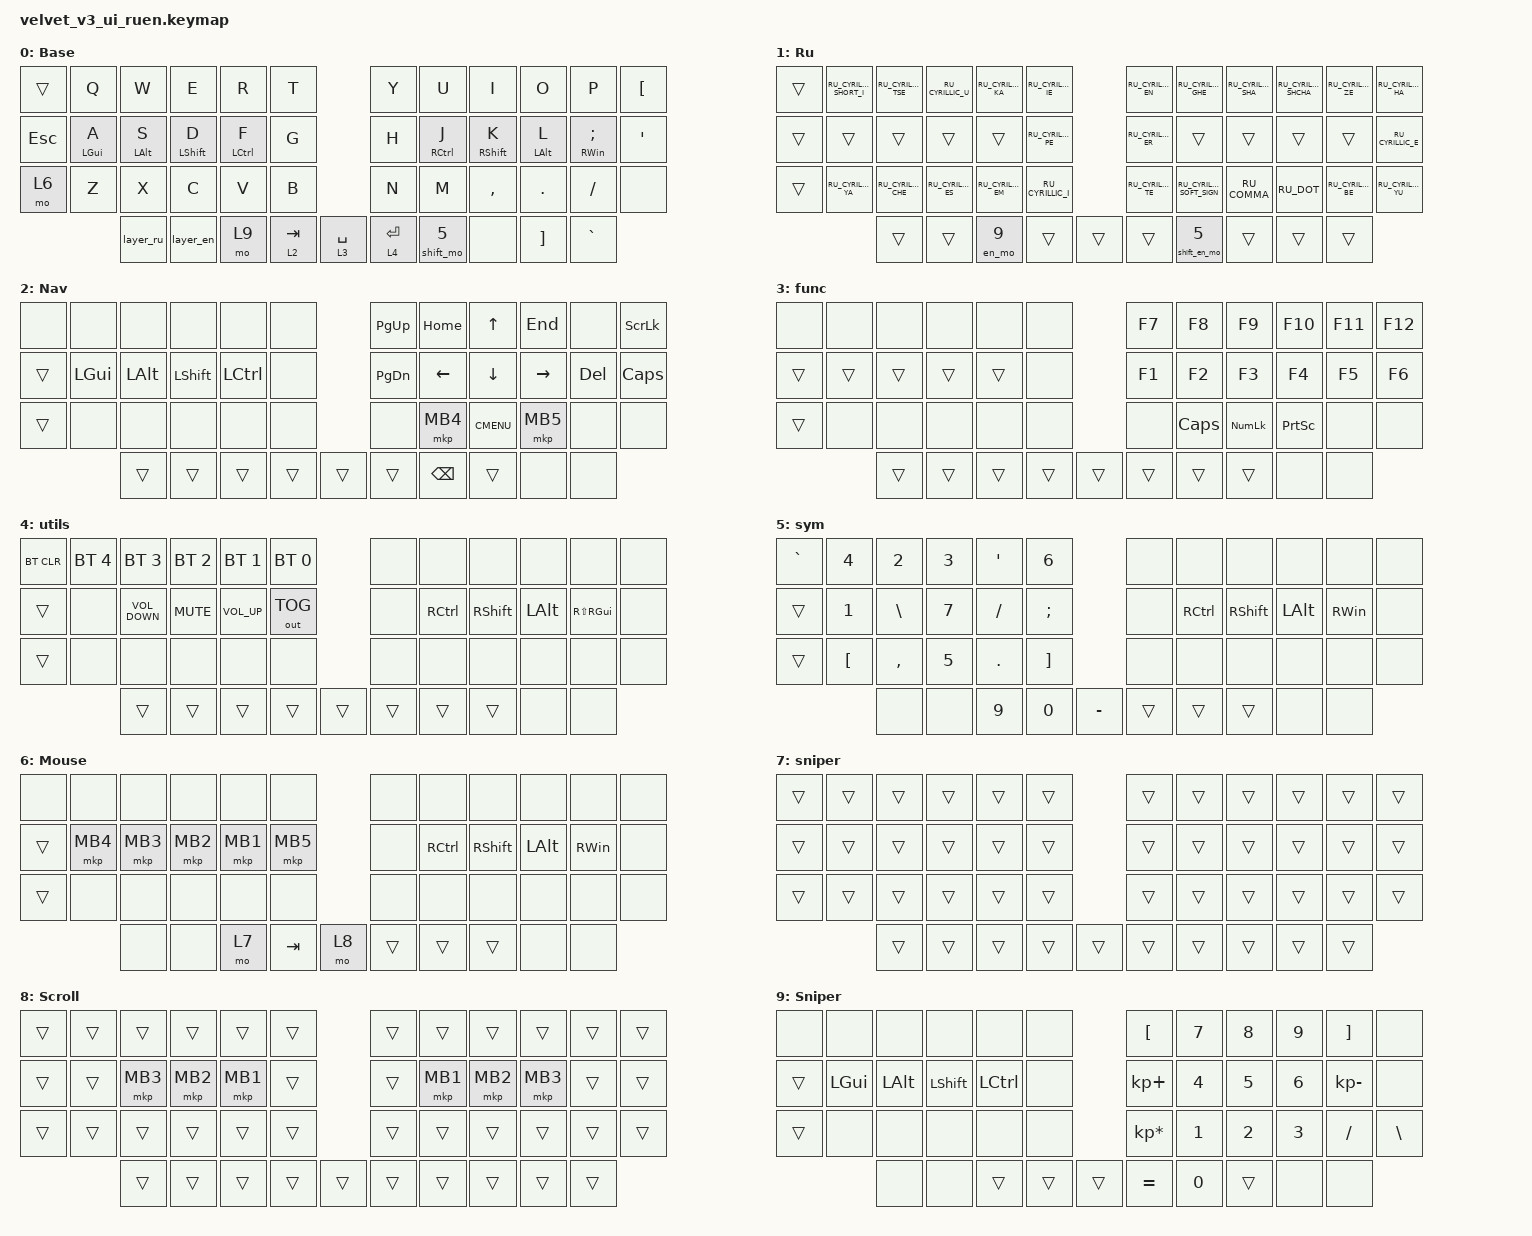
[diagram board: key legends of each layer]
#include "keys_ru.h"
#include <dt-bindings/zmk/input_transform.h>
#include <input/processors.dtsi>
#include <zephyr/dt-bindings/input/input-event-codes.h>
#include <behaviors.dtsi>
#include <dt-bindings/zmk/bt.h>
#include <dt-bindings/zmk/keys.h>
#include <dt-bindings/zmk/outputs.h>
#include <dt-bindings/zmk/pointing.h>

&lt { tapping-term-ms = <125>; };

&mt {
    tapping-term-ms = <125>;
    flavor = "tap-preferred";
};

/ {
    behaviors {
        cap_sen: cap_sen {
            compatible = "zmk,behavior-hold-tap";
            label = "CAP_SEN";
            bindings = <&mo>, <&mkp>;

            #binding-cells = <2>;
            tapping-term-ms = <150>;
            hold-while-undecided;
        };

        mouse_layer: mouse_layer {
            compatible = "zmk,behavior-sticky-key";
            label = "MOUSE_LAYER";
            bindings = <&mo>;
            #binding-cells = <1>;
            release-after-ms = <200>;
        };

        zip_auto_mouse: zip_auto_mouse {
            compatible = "zmk,input-processor-temp-layer";
            #input-processor-cells = <2>;
            require-prior-idle-ms = <800>;
            excluded-positions = <>;
        };
    };

    combos {
        compatible = "zmk,combos";

        cmben {
            bindings = <&layer_en>;
            key-positions = <3 4>;
            layers = <1>;
        };

        cmbru {
            bindings = <&layer_ru>;
            key-positions = <3 4>;
            layers = <0>;
        };
    };

    macros {
        layer_en: layer_en {
            compatible = "zmk,behavior-macro";
            #binding-cells = <0>;
            bindings = <&to 0 &ru_en_switch>;
            label = "LAYER_EN";
            wait-ms = <0>;
            tap-ms = <30>;
        };

        layer_ru: layer_ru {
            compatible = "zmk,behavior-macro";
            #binding-cells = <0>;
            bindings = <&to 1 &ru_en_switch>;
            label = "LAYER_RU";
            tap-ms = <30>;
            wait-ms = <0>;
        };

        en: en {
            compatible = "zmk,behavior-macro-one-param";
            #binding-cells = <1>;
            bindings =
                <&ru_en_switch &macro_param_1to1 &kp MACRO_PLACEHOLDER>,
                <&macro_wait_time 50>,
                <&ru_en_switch>,
                <&macro_wait_time 50>;

            label = "EN";
            wait-ms = <0>;
            tap-ms = <30>;
        };

        sen_mo: sen_mo {
            compatible = "zmk,behavior-macro-one-param";
            #binding-cells = <1>;
            bindings =
                <&macro_press>,
                <&macro_param_1to1 &mo MACRO_PLACEHOLDER>,
                <&macro_pause_for_release>,
                <&macro_wait_time 15>,
                <&macro_release>,
                <&macro_param_1to1 &mo MACRO_PLACEHOLDER>;

            label = "SEN_MO";
        };

        ru_en_switch: ru_en_switch {
            compatible = "zmk,behavior-macro";
            #binding-cells = <0>;
            bindings = <&kp LG(SPACE)>;
            label = "RU_EN_SWITCH";
        };

        shift_mo: shift_mo {
            compatible = "zmk,behavior-macro-one-param";
            #binding-cells = <1>;
            bindings =
                <&macro_press>,
                <&macro_param_1to1 &mo MACRO_PLACEHOLDER &kp LSHIFT>,
                <&macro_pause_for_release>,
                <&macro_release>,
                <&macro_param_1to1 &mo MACRO_PLACEHOLDER &kp LEFT_SHIFT>;

            label = "SHIFT_MO";
        };

        shift_en_mo: shift_en_mo {
            compatible = "zmk,behavior-macro-one-param";
            #binding-cells = <1>;
            bindings =
                <&macro_tap>,
                <&ru_en_switch>,
                <&macro_press>,
                <&macro_param_1to1 &mo MACRO_PLACEHOLDER &kp LEFT_SHIFT>,
                <&macro_pause_for_release>,
                <&macro_release>,
                <&macro_param_1to1 &mo MACRO_PLACEHOLDER &kp LEFT_SHIFT>,
                <&macro_tap>,
                <&ru_en_switch>;

            label = "SHIFT_EN_MO";
        };

        en_mo: en_mo {
            compatible = "zmk,behavior-macro-one-param";
            #binding-cells = <1>;
            bindings =
                <&macro_tap>,
                <&ru_en_switch>,
                <&macro_press>,
                <&macro_param_1to1 &mo MACRO_PLACEHOLDER>,
                <&macro_pause_for_release>,
                <&macro_release>,
                <&macro_param_1to1 &mo MACRO_PLACEHOLDER>,
                <&macro_tap>,
                <&ru_en_switch>;

            label = "EN_MO";
        };
    };

    keymap {
        compatible = "zmk,keymap";

        en {
            bindings = <
&trans   &kp Q           &kp W           &kp E             &kp R               &kp T                                  &kp Y        &kp U                &kp I              &kp O           &kp P               &kp LEFT_BRACKET
&kp ESC  &mt LEFT_GUI A  &mt LEFT_ALT S  &mt LEFT_SHIFT D  &mt LEFT_CONTROL F  &kp G                                  &kp H        &mt RIGHT_CONTROL J  &mt RIGHT_SHIFT K  &mt LEFT_ALT L  &mt RIGHT_WIN SEMI  &kp SQT
&mo 6    &kp Z           &kp X           &kp C             &kp V               &kp B                                  &kp N        &kp M                &kp COMMA          &kp DOT         &kp FSLH            &none
                         &layer_ru       &layer_en         &mo 9               &lt 2 TAB  &lt 3 SPACE    &lt 4 ENTER  &shift_mo 5  &none                &kp RIGHT_BRACKET  &kp GRAVE
            >;

            display-name = "Base";
        };

        ru {
            display-name = "Ru";
            bindings = <
&trans  &kp RU_CYRILLIC_SHORT_I  &kp RU_CYRILLIC_TSE  &kp RU_CYRILLIC_U   &kp RU_CYRILLIC_KA  &kp RU_CYRILLIC_IE                    &kp RU_CYRILLIC_EN  &kp RU_CYRILLIC_GHE        &kp RU_CYRILLIC_SHA  &kp RU_CYRILLIC_SHCHA  &kp RU_CYRILLIC_ZE  &kp RU_CYRILLIC_HA
&trans  &trans                   &trans               &trans              &trans              &kp RU_CYRILLIC_PE                    &kp RU_CYRILLIC_ER  &trans                     &trans               &trans                 &trans              &kp RU_CYRILLIC_E
&trans  &kp RU_CYRILLIC_YA       &kp RU_CYRILLIC_CHE  &kp RU_CYRILLIC_ES  &kp RU_CYRILLIC_EM  &kp RU_CYRILLIC_I                     &kp RU_CYRILLIC_TE  &kp RU_CYRILLIC_SOFT_SIGN  &kp RU_COMMA         &kp RU_DOT             &kp RU_CYRILLIC_BE  &kp RU_CYRILLIC_YU
                                 &trans               &trans              &en_mo 9            &trans              &trans    &trans  &shift_en_mo 5      &trans                     &trans               &trans
            >;
        };

        nav {
            bindings = <
&none   &none         &none         &none           &none             &none                     &kp PG_UP      &kp HOME  &kp UP       &kp END          &none       &kp SCROLLLOCK
&trans  &kp LEFT_GUI  &kp LEFT_ALT  &kp LEFT_SHIFT  &kp LEFT_CONTROL  &none                     &kp PAGE_DOWN  &kp LEFT  &kp DOWN     &kp RIGHT_ARROW  &kp DELETE  &kp CAPSLOCK
&trans  &none         &none         &none           &none             &none                     &none          &mkp MB4  &kp K_CMENU  &mkp MB5         &none       &none
                      &trans        &trans          &trans            &trans  &trans    &trans  &kp BACKSPACE  &trans    &none        &none
            >;

            display-name = "Nav";
        };

        func {
            bindings = <
&none   &none   &none   &none   &none   &none                     &kp F7  &kp F8    &kp F9          &kp F10          &kp F11  &kp F12
&trans  &trans  &trans  &trans  &trans  &none                     &kp F1  &kp F2    &kp F3          &kp F4           &kp F5   &kp F6
&trans  &none   &none   &none   &none   &none                     &none   &kp CAPS  &kp KP_NUMLOCK  &kp PRINTSCREEN  &none    &none
                &trans  &trans  &trans  &trans  &trans    &trans  &trans  &trans    &none           &none
            >;
        };

        utils {
            bindings = <
&bt BT_CLR  &bt BT_SEL 4  &bt BT_SEL 3       &bt BT_SEL 2  &bt BT_SEL 1     &bt BT_SEL 0                    &none   &none              &none            &none         &none              &none
&trans      &none         &kp C_VOLUME_DOWN  &kp C_MUTE    &kp C_VOLUME_UP  &out OUT_TOG                    &none   &kp RIGHT_CONTROL  &kp RIGHT_SHIFT  &kp LEFT_ALT  &kp RS(RIGHT_GUI)  &none
&trans      &none         &none              &none         &none            &none                           &none   &none              &none            &none         &none              &none
                          &trans             &trans        &trans           &trans        &trans    &trans  &trans  &trans             &none            &none
            >;
        };

        sym {
            bindings = <
&kp GRAVE  &kp NUMBER_4  &kp N2     &kp N3  &kp SQT   &kp N6                         &none   &none              &none            &none         &none          &none
&trans     &kp N1        &kp BSLH   &kp N7  &kp FSLH  &kp SEMI                       &none   &kp RIGHT_CONTROL  &kp RIGHT_SHIFT  &kp LEFT_ALT  &kp RIGHT_WIN  &none
&trans     &kp LBKT      &kp COMMA  &kp N5  &kp DOT   &kp RBKT                       &none   &none              &none            &none         &none          &none
                         &none      &none   &kp N9    &kp N0    &kp MINUS    &trans  &trans  &trans             &none            &none
            >;

            display-name = "sym";
        };

        mouse {
            bindings = <
&none   &none     &none     &none     &none     &none                      &none   &none              &none            &none         &none          &none
&trans  &mkp MB4  &mkp MB3  &mkp MB2  &mkp MB1  &mkp MB5                   &none   &kp RIGHT_CONTROL  &kp RIGHT_SHIFT  &kp LEFT_ALT  &kp RIGHT_WIN  &none
&trans  &none     &none     &none     &none     &none                      &none   &none              &none            &none         &none          &none
                  &none     &none     &mo 7     &kp TAB   &mo 8    &trans  &trans  &trans             &none            &none
            >;

            display-name = "Mouse";
        };

        sniper {
            bindings = <
&trans  &trans  &trans  &trans  &trans  &trans                    &trans  &trans  &trans  &trans  &trans  &trans
&trans  &trans  &trans  &trans  &trans  &trans                    &trans  &trans  &trans  &trans  &trans  &trans
&trans  &trans  &trans  &trans  &trans  &trans                    &trans  &trans  &trans  &trans  &trans  &trans
                &trans  &trans  &trans  &trans  &trans    &trans  &trans  &trans  &trans  &trans
            >;
        };

        scroll {
            bindings = <
&trans  &trans  &trans    &trans    &trans    &trans                    &trans  &trans    &trans    &trans    &trans  &trans
&trans  &trans  &mkp MB3  &mkp MB2  &mkp MB1  &trans                    &trans  &mkp MB1  &mkp MB2  &mkp MB3  &trans  &trans
&trans  &trans  &trans    &trans    &trans    &trans                    &trans  &trans    &trans    &trans    &trans  &trans
                &trans    &trans    &trans    &trans  &trans    &trans  &trans  &trans    &trans    &trans
            >;

            display-name = "Scroll";
        };

        numeric {
            bindings = <
&none   &none         &none         &none           &none             &none                        &kp LBKT         &kp N7  &kp N8  &kp N9  &kp RBKT      &none
&trans  &kp LEFT_GUI  &kp LEFT_ALT  &kp LEFT_SHIFT  &kp LEFT_CONTROL  &none                        &kp KP_PLUS      &kp N4  &kp N5  &kp N6  &kp KP_MINUS  &none
&trans  &none         &none         &none           &none             &none                        &kp KP_MULTIPLY  &kp N1  &kp N2  &kp N3  &kp FSLH      &kp BSLH
                      &none         &none           &trans            &trans  &trans    &kp EQUAL  &kp N0           &trans  &none   &none
            >;

            display-name = "Sniper";
        };
    };
};

&trackball { cpi = <1000>; };

&trackball_listener {
    input-processors = <&zip_auto_mouse 6 500>, <&zip_xy_scaler 9 20>;

    scroller {
        layers = <7>;
        input-processors =
            <&zip_xy_transform INPUT_TRANSFORM_Y_INVERT>,
            <&zip_xy_scaler 1 32>,
            <&zip_xy_to_scroll_mapper>;
    };

    sniper {
        layers = <8>;
        input-processors = <&zip_xy_scaler 1 4>;
    };
};
